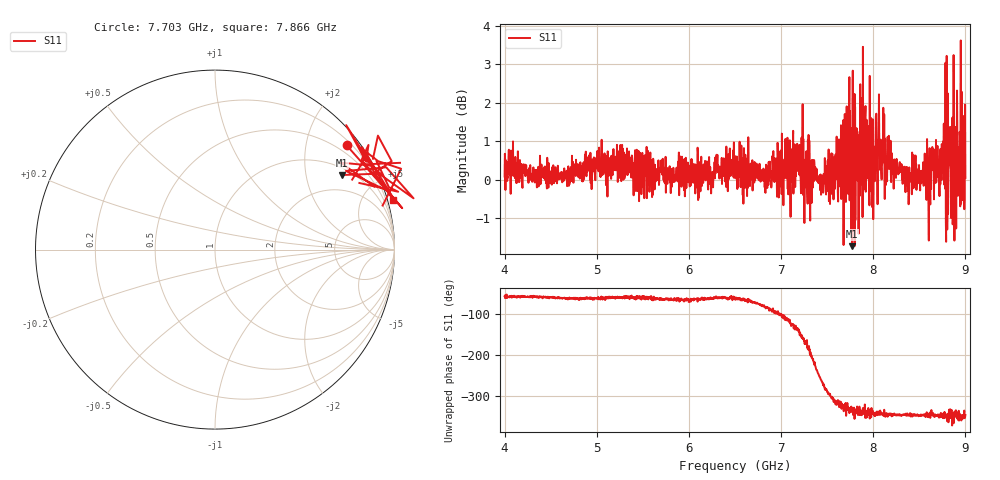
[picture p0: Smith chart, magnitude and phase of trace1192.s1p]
! Created with skrf 1.8.0 (http://scikit-rf.org).
# Hz S RI R 50.0
!freq ReS11 ImS11
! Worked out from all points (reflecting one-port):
!   1601 points, 4 GHz to 9 GHz, reference 50 ohm
!   lowest |S11| = -1.7 dB at 7.772 GHz (marker M1), VSWR 10.08, Z = 63.5 + j161 ohm
!   phase of S11 starts at -58 deg and turns -287 deg over the sweep
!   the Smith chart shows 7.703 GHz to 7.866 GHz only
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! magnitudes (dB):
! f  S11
! 4 GHz  0.1
! 4.625 GHz  -0.1
! 4.897 GHz  0.2
! 5.25 GHz  0.0
! 5.875 GHz  0.1
! 6.5 GHz  0.2
! 6.825 GHz  0.0
! 7.125 GHz  -0.1
! 7.209 GHz  0.1
! 7.262 GHz  0.1
! 7.284 GHz  -0.4
! 7.431 GHz  -0.1
! 7.594 GHz  0.2
! 7.65 GHz  1.4
! 7.75 GHz  -0.1
! 7.772 GHz  -1.7
! 7.825 GHz  0.9
! 7.891 GHz  0.3
! 8 GHz  -1.0
! 8.047 GHz  -0.6
! 8.375 GHz  0.1
! 8.441 GHz  -0.2
! 8.603 GHz  -1.6
! 8.656 GHz  0.8
! 8.809 GHz  2.2
! 8.862 GHz  -1.2
! 8.972 GHz  0.7
! 9 GHz  0.0
